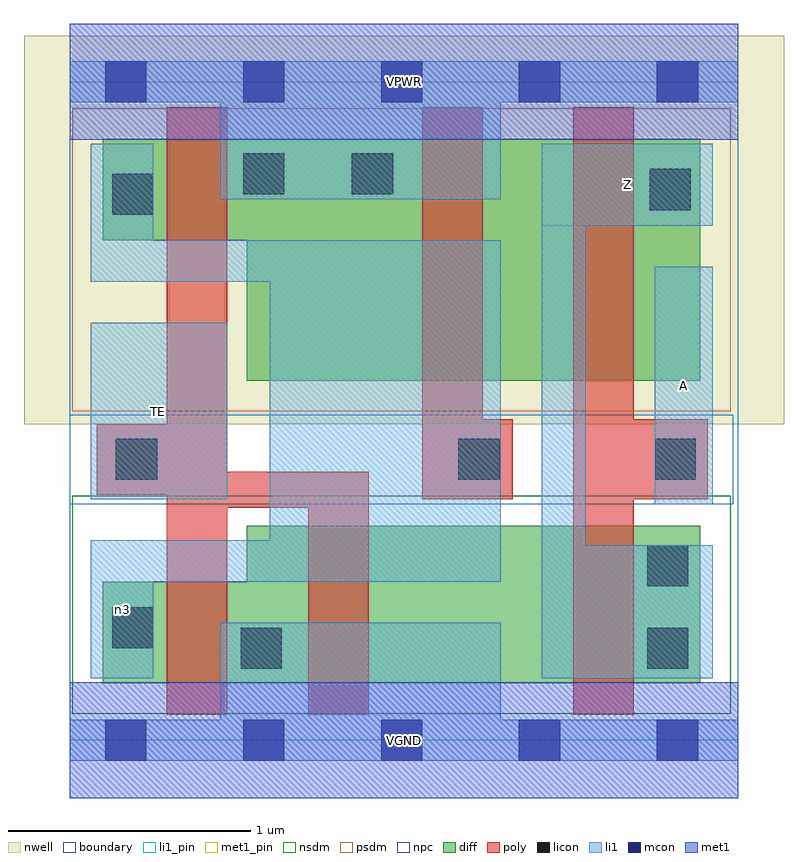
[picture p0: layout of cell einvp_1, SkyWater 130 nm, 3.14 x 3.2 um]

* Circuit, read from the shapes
.subckt einvp_1 A TE VGND VPWR Z n3
XM1 VGND TE n3 VSUBS sky130_fd_pr__nfet_01v8 w=0.42 l=0.25
XM2 n1 TE VGND VSUBS sky130_fd_pr__nfet_01v8 w=0.65 l=0.25
XM3 Z A n1 VSUBS sky130_fd_pr__nfet_01v8 w=0.65 l=0.25
XM4 VPWR TE n3 n2 sky130_fd_pr__pfet_01v8 w=0.42 l=0.25
XM5 n4 n3 VPWR n2 sky130_fd_pr__pfet_01v8 w=1 l=0.25
XM6 Z A n4 n2 sky130_fd_pr__pfet_01v8 w=1 l=0.25
.ends

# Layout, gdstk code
import gdstk
lib = gdstk.Library(unit=1e-6, precision=1e-09)
def R(c, l, rs):  # rectangles x0, y0, x1, y1
    for r in rs: c.add(gdstk.rectangle(r[:2], r[2:], *l))
def A(c, l, x, y, w, h, nx, ny, dx, dy):  # array of equal rectangles
    R(c, l, [(x+i*dx, y+j*dy, x+i*dx+w, y+j*dy+h) for i in range(nx) for j in range(ny)])
nwell = (64, 20)
diff = (65, 20)
poly = (66, 20)
licon = (66, 44)
li1_pin = (67, 16)
li1 = (67, 20)
mcon = (67, 44)
met1_pin = (68, 16)
met1 = (68, 20)
nsdm = (93, 44)
psdm = (94, 20)
npc = (95, 20)
boundary = (235, 4)

einvp_1 = lib.new_cell('einvp_1')
R(einvp_1, nwell, [(-0.19,1.305,2.95,2.91), (0,1.305,2.76,2.91)])
R(einvp_1, diff, [(0.135,0.235,2.605,0.655), (0.73,0.235,2.605,0.885), (0.73,1.485,2.605,2.485), (0.135,2.065,2.605,2.485)])
R(einvp_1, poly, [(0.4,0.105,0.65,2.615), (0.985,0.105,1.235,1.11), (2.08,0.105,2.33,2.615), (0.4,0.96,1.235,1.11), (1.455,0.995,1.705,2.615), (1.455,0.995,1.83,1.325), (2.08,0.995,2.635,1.325), (0.11,1.015,0.65,1.305)])
R(einvp_1, licon, [(0.705,0.295,0.875,0.465), (2.385,0.295,2.555,0.465), (0.175,0.38,0.345,0.55), (2.385,0.635,2.555,0.805), (0.19,1.075,0.36,1.245), (1.605,1.075,1.775,1.245), (2.415,1.075,2.585,1.245), (0.175,2.17,0.345,2.34), (2.395,2.19,2.565,2.36), (0.715,2.255,0.885,2.425), (1.165,2.255,1.335,2.425)])
R(einvp_1, li1_pin, [(2.415,0.975,2.655,1.955), (0.085,0.995,0.65,1.725), (1.95,2.125,2.655,2.465)])
R(einvp_1, li1, [(0,-0.085,2.76,0.085), (0.62,-0.085,1.78,0.485), (0.085,0.255,0.345,0.825), (1.95,0.255,2.13,2.465), (1.95,0.255,2.655,0.805), (0.085,0.655,1.78,0.825), (0.825,0.655,1.78,2.065), (2.415,0.975,2.655,1.955), (0.085,0.995,0.65,1.725), (0.085,1.895,0.345,2.465), (0.085,1.895,1.78,2.065), (1.95,2.125,2.655,2.465), (0.62,2.235,1.78,2.805), (0,2.635,2.76,2.805)])
A(einvp_1, mcon, 0.145, -0.085, 0.17, 0.17, 5, 2, 0.57, 2.72)
R(einvp_1, met1_pin, [(0,-0.24,2.76,0.24), (0,2.48,2.76,2.96)])
R(einvp_1, met1, [(0,-0.24,2.76,0.24), (0,2.48,2.76,2.96)])
R(einvp_1, nsdm, [(0.01,0.11,2.73,1.01)])
R(einvp_1, psdm, [(0.01,1.36,2.73,2.61)])
R(einvp_1, npc, [(0,0.975,2.74,1.345)])
R(einvp_1, boundary, [(0,0,2.76,2.72)])
einvp_1.add(gdstk.Label('A', (2.535,1.465), layer=67, texttype=5))
einvp_1.add(gdstk.Label('TE', (0.367,1.36), layer=67, texttype=5))
einvp_1.add(gdstk.Label('Z', (2.302,2.295), layer=67, texttype=5))
einvp_1.add(gdstk.Label('n3', (0.215,0.54), layer=67, texttype=5))
einvp_1.add(gdstk.Label('VPWR', (1.38,2.72), layer=68, texttype=5))
einvp_1.add(gdstk.Label('VGND', (1.38,0), layer=68, texttype=5))
einvp_1.add(gdstk.Label('A', (2.535,1.465), layer=67, texttype=16))
einvp_1.add(gdstk.Label('TE', (0.367,1.36), layer=67, texttype=16))
einvp_1.add(gdstk.Label('Z', (2.302,2.295), layer=67, texttype=16))
einvp_1.add(gdstk.Label('VPWR', (1.38,2.72), layer=68, texttype=16))
einvp_1.add(gdstk.Label('VGND', (1.38,0), layer=68, texttype=16))

lib.write_gds('einvp_1.gds')
